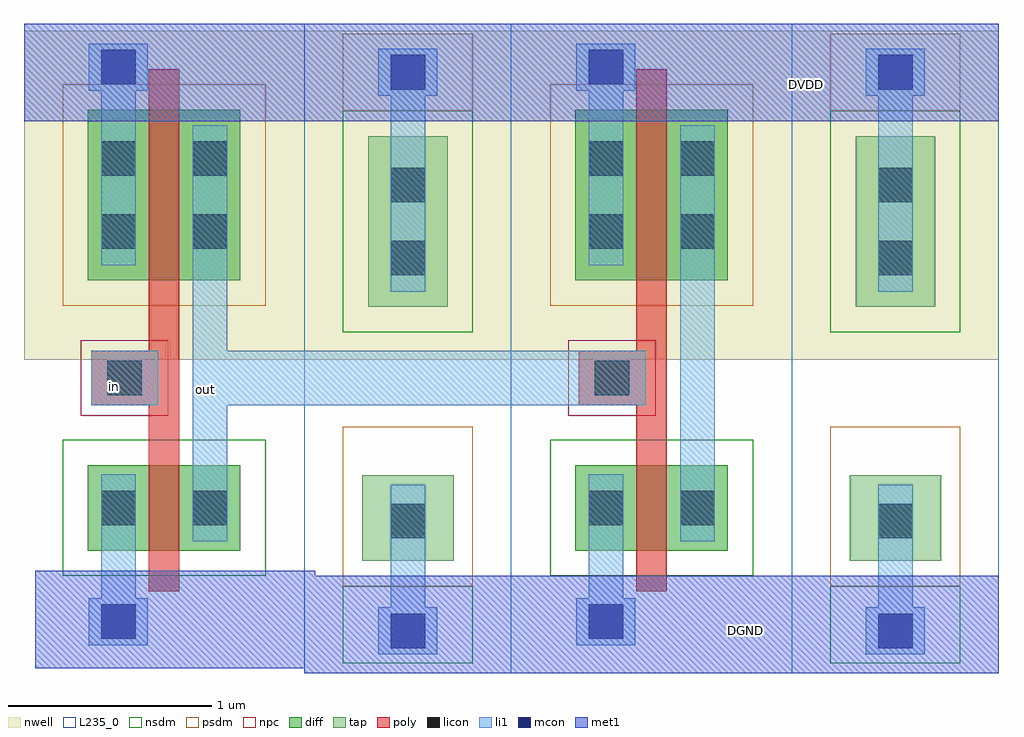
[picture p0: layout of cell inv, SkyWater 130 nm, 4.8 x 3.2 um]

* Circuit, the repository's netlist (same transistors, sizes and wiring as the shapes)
** sch_path: /home/global/EE23B038/tutorial_6/6.1v2/inv.sch
.subckt inv DVDD in out DGND
*.PININFO in:I DVDD:B DGND:B out:O
XM1 out in DGND DGND sky130_fd_pr__nfet_01v8 L=0.15 W=0.42 nf=1 m=1
XM2 out in DVDD DVDD sky130_fd_pr__pfet_01v8 L=0.15 W=0.84 nf=1 m=1
XM3 net1 out DGND DGND sky130_fd_pr__nfet_01v8 L=0.15 W=0.42 nf=1 m=1
XM4 net1 out DVDD DVDD sky130_fd_pr__pfet_01v8 L=0.15 W=0.84 nf=1 m=1
.ends
.end

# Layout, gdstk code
import gdstk
lib = gdstk.Library(unit=1e-6, precision=1e-09)
def R(c, l, rs):  # rectangles x0, y0, x1, y1
    for r in rs: c.add(gdstk.rectangle(r[:2], r[2:], *l))
def P(c, l, *ps):  # polygons
    for p in ps: c.add(gdstk.Polygon(p, *l))
nwell = (64, 20)
diff = (65, 20)
tap = (65, 44)
poly = (66, 20)
licon = (66, 44)
li1 = (67, 20)
mcon = (67, 44)
met1 = (68, 20)
nsdm = (93, 44)
psdm = (94, 20)
npc = (95, 20)
L235_0 = (235, 0)

vias_gen = lib.new_cell('vias_gen')
R(vias_gen, li1, [(0,0,0.29,0.23)])
R(vias_gen, mcon, [(0.06,0.03,0.23,0.2)])
R(vias_gen, met1, [(0,0,0.29,0.23)])

tap_ = lib.new_cell('tap')
R(tap_, nwell, [(-1.455,0.92,-0.435,2.525)])
R(tap_, tap, [(-1.17,-0.07,-0.72,0.35), (-1.14,1.18,-0.75,2.02)])
R(tap_, licon, [(-1.03,0.04,-0.86,0.21), (-1.03,1.335,-0.86,1.505), (-1.03,1.695,-0.86,1.865)])
R(tap_, li1, [(-1.03,-0.3,-0.86,-0.025), (-1.03,-0.025,-0.86,0.305), (-1.03,1.255,-0.86,1.945), (-1.03,1.945,-0.86,2.25)])
R(tap_, met1, [(-1.455,-0.625,-0.435,-0.145), (-1.455,2.095,-0.435,2.575)])
R(tap_, nsdm, [(-1.265,-0.575,-0.625,-0.195), (-1.265,1.055,-0.625,2.145)])
R(tap_, psdm, [(-1.265,-0.195,-0.625,0.59), (-1.265,2.145,-0.625,2.525)])
R(tap_, L235_0, [(-1.455,-0.625,-0.435,2.575)])
tap_.add(gdstk.Reference(vias_gen, (-1.09,-0.53)))
tap_.add(gdstk.Reference(vias_gen, (-1.09,2.22)))

pfet_1 = lib.new_cell('pfet$1')
R(pfet_1, nwell, [(-0.315,-0.39,1.065,1.23)])
R(pfet_1, diff, [(0,0,0.75,0.84)])
R(pfet_1, poly, [(0.3,-0.2,0.45,1.04)])
R(pfet_1, licon, [(0.065,0.155,0.235,0.325), (0.515,0.155,0.685,0.325), (0.065,0.515,0.235,0.685), (0.515,0.515,0.685,0.685)])
R(pfet_1, li1, [(0.065,0.075,0.235,0.765), (0.515,0.075,0.685,0.765)])
R(pfet_1, psdm, [(-0.125,-0.125,0.875,0.965)])

nfet = lib.new_cell('nfet')
R(nfet, diff, [(0,0,0.75,0.42)])
R(nfet, poly, [(0.3,-0.2,0.45,0.62)])
R(nfet, licon, [(0.065,0.125,0.235,0.295), (0.515,0.125,0.685,0.295)])
R(nfet, li1, [(0.065,0.045,0.235,0.375), (0.515,0.045,0.685,0.375)])
R(nfet, nsdm, [(-0.125,-0.125,0.875,0.545)])

vias_gen_2 = lib.new_cell('vias_gen$2')
R(vias_gen_2, li1, [(0,0,0.29,0.23)])
R(vias_gen_2, mcon, [(0.06,0.03,0.23,0.2)])
R(vias_gen_2, met1, [(0,0,0.29,0.23)])

vias_gen_4 = lib.new_cell('vias_gen$4')
R(vias_gen_4, poly, [(0,0,0.33,0.27)])
R(vias_gen_4, licon, [(0.08,0.05,0.25,0.22)])
R(vias_gen_4, li1, [(0,0,0.33,0.27)])
R(vias_gen_4, npc, [(-0.05,-0.05,0.38,0.32)])

vias_gen_5 = lib.new_cell('vias_gen$5')
R(vias_gen_5, li1, [(0,0,0.29,0.23)])
R(vias_gen_5, mcon, [(0.06,0.03,0.23,0.2)])
R(vias_gen_5, met1, [(0,0,0.29,0.23)])

inv = lib.new_cell('inv')
R(inv, nwell, [(1,3.65,2.02,3.665), (3.4,3.65,4.42,3.665)])
P(inv, nwell, [(2.025,3.65),(2.025,3.65),(2.025,3.65),(2.025,3.65)],
  [(4.425,3.65),(4.425,3.65),(4.425,3.65),(4.425,3.65)])
R(inv, poly, [(0.235,1.725,0.385,2.235), (2.635,1.725,2.785,2.235)])
R(inv, li1, [(0,0.67,0.17,1.15), (2.4,0.67,2.57,1.15), (0.45,1.48,0.62,2.51), (2.85,1.48,3.02,2.51), (0.62,1.82,2.35,2.09), (0,3.2,0.17,3.4), (2.4,3.2,2.57,3.4)])
R(inv, met1, [(2.02,0.5,3.4,0.98), (-0.325,0.525,1.055,1.005), (-0.38,3.22,1,3.7), (2.02,3.22,3.4,3.7)])
inv.add(gdstk.Reference(tap_, (2.455,1.125)))
inv.add(gdstk.Reference(pfet_1, (-0.065,2.435)))
inv.add(gdstk.Reference(nfet, (-0.065,1.105)))
inv.add(gdstk.Reference(vias_gen_2, (-0.06,3.37)))
inv.add(gdstk.Reference(vias_gen_2, (-0.06,0.64)))
inv.add(gdstk.Reference(vias_gen_4, (-0.05,1.82)))
inv.add(gdstk.Reference(tap_, (4.855,1.125)))
inv.add(gdstk.Reference(pfet_1, (2.335,2.435)))
inv.add(gdstk.Reference(nfet, (2.335,1.105)))
inv.add(gdstk.Reference(vias_gen_5, (2.34,3.37)))
inv.add(gdstk.Reference(vias_gen_5, (2.34,0.64)))
inv.add(gdstk.Reference(vias_gen_4, (2.35,1.82)))
inv.add(gdstk.Label('in', (0.065,1.915), layer=67, texttype=5))
inv.add(gdstk.Label('out', (0.515,1.9), layer=67, texttype=5))
inv.add(gdstk.Label('DVDD', (3.47,3.4), layer=68, texttype=5))
inv.add(gdstk.Label('DGND', (3.17,0.71), layer=68, texttype=5))

lib.write_gds('inv.gds')
